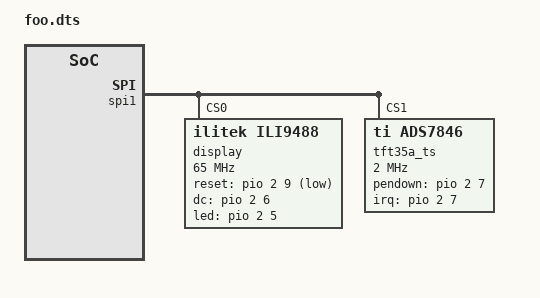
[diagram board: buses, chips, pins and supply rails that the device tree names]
/dts-v1/;
/plugin/;

/ {
	compatible = "allwinner,h616";

	fragment@0 {
		target = <&pio>;
		__overlay__ {
			// Set up pins
			display_pins: display_pins {
				pins = "PC9", "PC6", "PC5"; // Add DC/RS nad RST pins here
				function = "gpio_out";
			};
			ads7846_pins: ads7846_pins {
				pins= "PC7";
				function = "irq";
     			 };
		};
	};

	fragment@1 {
		target = <&spi1>;
		__overlay__ {
			/* needed to avoid dtc warning */
			#address-cells = <1>;
			#size-cells = <0>;

			display: display@0{
				compatible = "ilitek,ili9488";
				reg = <0>;
				pinctrl-names = "default";
				pinctrl-0 = <&display_pins>;

				spi-max-frequency = <65000000>;
				txbuflen = <65536>;
				rotate = <90>;
				bgr = <1>;
				fps = <30>;
				buswidth = <8>;
				regwidth = <16>;
				// Select pins: 1st number = pos. of letter in the alphabet - 1
				//              2nd number = pin number
				//              3rd number = DON'T CHANGE! (1 = ACTIVE_LOW, 0 = ACTIVE_HIGH)
				// Example: PA2 = <&pio 0 2 1>
				//          PC7 = <&pio 2 7 0>
				reset-gpios = <&pio 2 9 1>; // RST pin
				dc-gpios = <&pio 2 6 0>; // DC/RS pin
				led-gpios = <&pio 2 5 0>; // LED pin
				debug = <0>;

				init = <0x10000b0 0x00
					0x1000011
					0x20000ff
					0x100003a 0x55
					0x1000036 0x28
					0x10000c2 0x44
					0x10000c5 0x00 0x00 0x00 0x00
					0x10000e0 0x0f 0x1f 0x1c 0x0c 0x0f 0x08 0x48 0x98 0x37 0x0a 0x13 0x04 0x11 0x0d 0x00
					0x10000e1 0x0f 0x32 0x2e 0x0b 0x0d 0x05 0x47 0x75 0x37 0x06 0x10 0x03 0x24 0x20 0x00
					0x10000e2 0x0f 0x32 0x2e 0x0b 0x0d 0x05 0x47 0x75 0x37 0x06 0x10 0x03 0x24 0x20 0x00
					0x1000036 0x28
					0x1000011
					0x1000029>;
			};
			tft35a_ts: tft35a_ts@1 {
				compatible = "ti,ads7846";
				reg = <1>;
				status = "okay";
				pinctrl-names = "default";
				pinctrl-0 = <&ads7846_pins>;
				spi-max-frequency = <2000000>;
				interrupts = <2 7 2>; /* PA1 IRQ_TYPE_EDGE_FALLING */
				interrupt-parent = <&pio>;
				pendown-gpio = <&pio 2 7 0>; /* PA1 */
				ti,x-min = /bits/ 16 <0>;
				ti,y-min = /bits/ 16 <0>;
				ti,x-max = /bits/ 16 <0x0FFF>;
				ti,y-max = /bits/ 16 <0x0FFF>;
				ti,pressure-min = /bits/ 16 <0>;
				ti,pressure-max = /bits/ 16 <0xFFFF>;
				ti,x-plate-ohms = /bits/ 16 <400>;
			};
		};
	};
	__overrides__ {
		speed = <&display>,"spi-max-frquency:0";
		txbuflen = <&display>,"txbuflen:0";
		rotate = <&display>,"rotate:0";
		fps = <&display>,"fps:0";
		bgr = <&display>,"bgr:0";
		debug = <&display>,"debug:0";
		swapxy = <&tft35a_ts>,"ti,swap-xy?";
	};	
};
